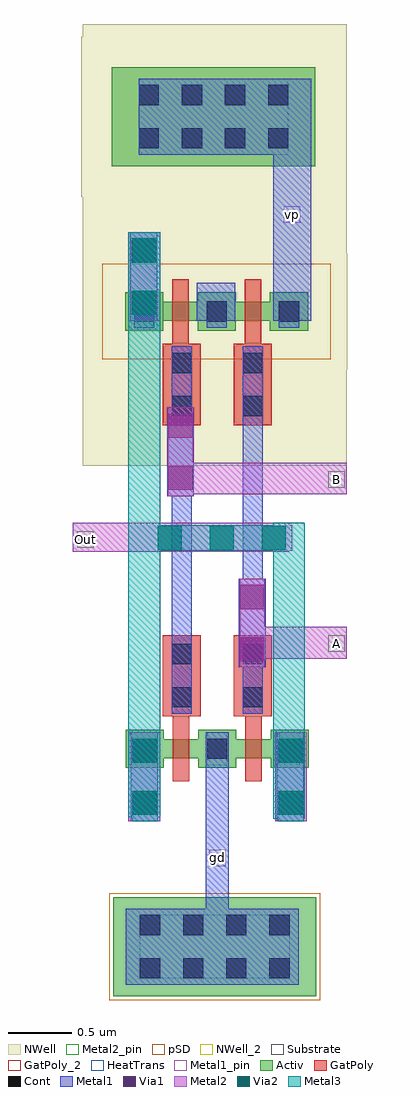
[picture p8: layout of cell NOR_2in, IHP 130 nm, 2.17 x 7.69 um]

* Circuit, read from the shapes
.subckt NOR_2in A B Out gd vp
XM1 gd B Out gd sg13_lv_nmos w=0.15u l=0.13u
XM2 Out A gd gd sg13_lv_nmos w=0.15u l=0.13u
XM3 n1 B Out vp sg13_lv_pmos w=0.15u l=0.13u
XM4 vp A n1 vp sg13_lv_pmos w=0.15u l=0.13u
.ends

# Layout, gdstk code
from math import pi, radians
import gdstk
lib = gdstk.Library(unit=1e-6, precision=1e-09)
def R(c, l, rs):  # rectangles x0, y0, x1, y1
    for r in rs: c.add(gdstk.rectangle(r[:2], r[2:], *l))
def A(c, l, x, y, w, h, nx, ny, dx, dy):  # array of equal rectangles
    R(c, l, [(x+i*dx, y+j*dy, x+i*dx+w, y+j*dy+h) for i in range(nx) for j in range(ny)])
Activ = (1, 0)
GatPoly = (5, 0)
GatPoly_2 = (5, 2)
Cont = (6, 0)
Metal1 = (8, 0)
Metal1_pin = (8, 2)
Metal2 = (10, 0)
Metal2_pin = (10, 2)
pSD = (14, 0)
Via1 = (19, 0)
Via2 = (29, 0)
Metal3 = (30, 0)
NWell = (31, 0)
NWell_2 = (31, 2)
Substrate = (40, 0)
HeatTrans = (51, 0)

via_1_3 = lib.new_cell('Via$1$3')
R(via_1_3, GatPoly, [(-0.15,-0.32,0.15,0.32)])
R(via_1_3, Cont, [(-0.08,-0.25,0.08,-0.09), (-0.08,0.09,0.08,0.25)])
R(via_1_3, Metal1, [(-0.08,-0.3,0.08,0.3)])

via_6_3 = lib.new_cell('Via$6$3')
R(via_6_3, Metal1, [(-0.105,-0.35,0.105,0.35)])
R(via_6_3, Metal2, [(-0.1,-0.35,0.1,0.35)])
R(via_6_3, Via1, [(-0.095,-0.3,0.095,-0.11), (-0.095,0.11,0.095,0.3)])

ptap1_16 = lib.new_cell('ptap1$16')
R(ptap1_16, Activ, [(0,0,1.6,0.78)])
A(ptap1_16, Cont, 0.21, 0.14, 0.16, 0.16, 4, 2, 0.34, 0.34)
R(ptap1_16, Metal1, [(0.21,0.09,1.39,0.69), (0.21,0.14,1.39,0.64)])
R(ptap1_16, Metal1_pin, [(0.21,0.14,1.39,0.64)])
R(ptap1_16, pSD, [(-0.03,-0.03,1.63,0.81)])
R(ptap1_16, Substrate, [(0,0,1.6,0.78)])
ptap1_16.add(gdstk.Label('sub!', (0.8,0.01), layer=63, texttype=0))
ptap1_16.add(gdstk.Label('sub!', (0.8,0.01), layer=40, texttype=0))

via_74 = lib.new_cell('Via$74')
R(via_74, Metal2, [(-0.1,-0.35,0.1,0.35)])
R(via_74, Via2, [(-0.095,-0.3,0.095,-0.11), (-0.095,0.11,0.095,0.3)])
R(via_74, Metal3, [(-0.1,-0.35,0.1,0.35)])

nmos_16 = lib.new_cell('nmos$16')
A(nmos_16, Activ, 0, 0, 0.3, 0.3, 3, 1, 0.57, 0)
R(nmos_16, Activ, [(0,0.075,1.44,0.225)])
R(nmos_16, GatPoly, [(0.37,-0.105,0.5,0.405), (0.94,-0.105,1.07,0.405)])
R(nmos_16, GatPoly_2, [(0.37,-0.105,0.5,0.405)])
A(nmos_16, Cont, 0.07, 0.07, 0.16, 0.16, 3, 1, 0.57, 0)
A(nmos_16, Metal1, 0.07, 0.02, 0.16, 0.26, 3, 1, 0.57, 0)
R(nmos_16, Metal1_pin, [(0.07,0.02,0.23,0.28), (0.64,0.02,0.8,0.28)])
R(nmos_16, HeatTrans, [(0.37,-0.105,0.5,0.405), (0.94,-0.105,1.07,0.405)])
nmos_16.add(gdstk.Label('nmos', (0.435,0.15), layer=63, texttype=0))
nmos_16.add(gdstk.Label('nmos', (0.435,0.15), layer=51, texttype=0))
nmos_16.add(gdstk.Label('nmos', (1.005,0.15), layer=51, texttype=0))

via_7_11 = lib.new_cell('Via$7$11')
R(via_7_11, Metal2, [(-0.555,-0.1,0.555,0.1)])
A(via_7_11, Via2, -0.505, -0.095, 0.19, 0.19, 3, 1, 0.41, 0)
R(via_7_11, Metal3, [(-0.555,-0.1,0.555,0.1)])

ntap1_14 = lib.new_cell('ntap1$14')
R(ntap1_14, Activ, [(0,0,1.6,0.78)])
A(ntap1_14, Cont, 0.21, 0.14, 0.16, 0.16, 4, 2, 0.34, 0.34)
R(ntap1_14, Metal1, [(0.21,0.09,1.39,0.69)])
R(ntap1_14, Metal1_pin, [(0.21,0.09,1.39,0.69), (0.21,0.14,1.39,0.64)])
R(ntap1_14, NWell, [(-0.24,-0.24,1.84,1.02), (0,0,1.6,0.78)])
R(ntap1_14, NWell_2, [(0,0,1.6,0.78)])
ntap1_14.add(gdstk.Label('well', (0.8,0.01), layer=63, texttype=0))
ntap1_14.add(gdstk.Label('well', (0.8,0.01), layer=31, texttype=0))

pmos_23 = lib.new_cell('pmos$23')
A(pmos_23, Activ, 0, 0, 0.3, 0.3, 3, 1, 0.57, 0)
R(pmos_23, Activ, [(0,0.075,1.44,0.225)])
R(pmos_23, GatPoly, [(0.37,-0.105,0.5,0.405), (0.37,-0.105,0.5,0.405), (0.94,-0.105,1.07,0.405)])
A(pmos_23, Cont, 0.07, 0.07, 0.16, 0.16, 3, 1, 0.57, 0)
R(pmos_23, Metal1, [(0.07,0.02,0.23,0.28), (0.07,0.02,0.23,0.28), (0.64,0.02,0.8,0.28), (0.64,0.02,0.8,0.28), (1.21,0.02,1.37,0.28)])
R(pmos_23, pSD, [(-0.18,-0.225,1.62,0.525)])
R(pmos_23, NWell, [(-0.31,-0.31,1.75,0.61)])
R(pmos_23, Substrate, [(1.14,0,1.44,0.3)])
R(pmos_23, HeatTrans, [(0.37,-0.105,0.5,0.405), (0.94,-0.105,1.07,0.405)])
pmos_23.add(gdstk.Label('pmos', (0.435,0.15), layer=63, texttype=0))
pmos_23.add(gdstk.Label('pmos', (0.435,0.15), layer=51, texttype=0))
pmos_23.add(gdstk.Label('pmos', (1.005,0.15), layer=51, texttype=0))

nor_2in = lib.new_cell('NOR_2in')
R(nor_2in, Metal1, [(3.82,-4.64,5.18,-4.04), (4.74,-2.235,4.9,-0.14), (4.18,-2.025,4.34,-0.045), (4.38,0.59,4.68,0.89)])
R(nor_2in, Metal1_pin, [(4.475,-3.705,4.605,-3.575), (5.065,1.365,5.195,1.495)])
R(nor_2in, Metal2, [(3.4,-1.23,5.105,-1)])
R(nor_2in, Metal2_pin, [(5.415,-2.015,5.545,-1.885), (3.435,-1.195,3.565,-1.065), (5.415,-0.725,5.545,-0.595)])
R(nor_2in, NWell, [(3.48,-0.55,5.56,2.93)])
nor_2in.add(gdstk.FlexPath([(4.54,-2.65),(4.54,-4.04)], 0.18, ends="flush", simple_path=True, layer=8, datatype=0))  # Metal1
nor_2in.add(gdstk.FlexPath([(5.13,0.59),(5.13,2.5)], 0.3, ends="flush", simple_path=True, layer=8, datatype=0))  # Metal1
nor_2in.add(gdstk.FlexPath([(5.12,-2.65),(5.12,-3.35)], 0.25, ends="flush", simple_path=True, layer=10, datatype=0))  # Metal2
nor_2in.add(gdstk.FlexPath([(3.965,-2.65),(3.965,-3.35)], 0.25, ends="flush", simple_path=True, layer=10, datatype=0))  # Metal2
nor_2in.add(gdstk.FlexPath([(3.965,1.29),(3.965,0.59)], 0.25, ends="flush", simple_path=True, layer=10, datatype=0))  # Metal2
nor_2in.add(gdstk.FlexPath([(4.23,-0.65),(5.56,-0.65)], 0.25, ends="flush", simple_path=True, layer=10, datatype=0))  # Metal2
nor_2in.add(gdstk.FlexPath([(4.745,-1.945),(5.56,-1.945)], 0.25, ends="flush", simple_path=True, layer=10, datatype=0))  # Metal2
nor_2in.add(gdstk.FlexPath([(3.965,-3.32),(3.965,1.29)], 0.25, ends="flush", simple_path=True, layer=30, datatype=0))  # Metal3
nor_2in.add(gdstk.FlexPath([(5.105,-3.33),(5.105,-1)], 0.25, ends="flush", simple_path=True, layer=30, datatype=0))  # Metal3
nor_2in.add(gdstk.Reference(via_1_3, (4.82,0.09), rotation=pi, x_reflection=True))
nor_2in.add(gdstk.Reference(via_1_3, (4.82,-2.205), rotation=pi, x_reflection=True))
nor_2in.add(gdstk.Reference(via_1_3, (4.26,-2.205), rotation=pi, x_reflection=True))
nor_2in.add(gdstk.Reference(via_6_3, (4.815,-1.79), rotation=pi, x_reflection=True))
nor_2in.add(gdstk.Reference(ptap1_16, (5.32,-4.73), rotation=pi, x_reflection=True))
nor_2in.add(gdstk.Reference(via_74, (3.965,0.94), rotation=pi, x_reflection=True))
nor_2in.add(gdstk.Reference(nmos_16, (5.26,-2.93), rotation=pi, x_reflection=True))
nor_2in.add(gdstk.Reference(via_6_3, (3.96,0.94), rotation=pi, x_reflection=True))
nor_2in.add(gdstk.Reference(via_74, (3.97,-3), rotation=pi, x_reflection=True))
nor_2in.add(gdstk.Reference(via_74, (5.12,-3), rotation=pi, x_reflection=True))
nor_2in.add(gdstk.Reference(via_6_3, (5.115,-3), rotation=pi, x_reflection=True))
nor_2in.add(gdstk.Reference(via_7_11, (4.575,-1.12), rotation=pi, x_reflection=True))
nor_2in.add(gdstk.Reference(ntap1_14, (3.71,1.81)))
nor_2in.add(gdstk.Reference(via_6_3, (4.25,-0.44), rotation=pi, x_reflection=True))
nor_2in.add(gdstk.Reference(via_1_3, (4.26,0.09), rotation=pi, x_reflection=True))
nor_2in.add(gdstk.Reference(pmos_23, (5.255,0.515), rotation=pi, x_reflection=True))
nor_2in.add(gdstk.Reference(via_6_3, (3.965,-3), rotation=pi, x_reflection=True))
nor_2in.add(gdstk.Label('Out', (3.5,-1.13), layer=10, texttype=25))
nor_2in.add(gdstk.Label('B', (5.48,-0.66), layer=10, texttype=25))
nor_2in.add(gdstk.Label('A', (5.48,-1.95), layer=10, texttype=25))
nor_2in.add(gdstk.Label('gd', (4.54,-3.64), layer=8, texttype=25))
nor_2in.add(gdstk.Label('vp', (5.13,1.43), layer=8, texttype=25))

lib.write_gds('NOR_2in.gds')
